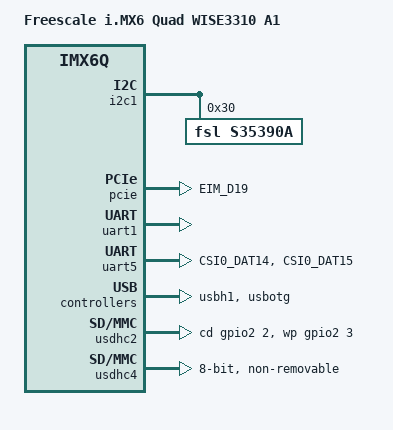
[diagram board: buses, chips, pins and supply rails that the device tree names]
/*
 * Copyright 2012 Freescale Semiconductor, Inc.
 * Copyright 2011 Linaro Ltd.
 *
 * The code contained herein is licensed under the GNU General Public
 * License. You may obtain a copy of the GNU General Public License
 * Version 2 or later at the following locations:
 *
 * http://www.opensource.org/licenses/gpl-license.html
 * http://www.gnu.org/copyleft/gpl.html
 */

/dts-v1/;

#include "imx6q.dtsi"
#include "imx6qdl-advantech.dtsi"

/ {
	model = "Freescale i.MX6 Quad WISE3310 A1";
	compatible = "fsl,imx6q-sabresd", "fsl,imx6q";

	board {
		compatible = "proc-board";
		board-type = "WISE-3310 A1";
		board-cpu = "DualQuad";
	};

	wsn {
		compatible = "adv,dustwsn";
		pinctrl-names = "default";
		pinctrl-0 = <&pinctrl_dustwsn_0>;
		status = "okay";
	};
};

&audio_sgtl5000 {
	status = "disabled";
};

&audio_hdmi {
	status = "disabled";
};

&audmux {
	status = "disabled";
};

&hdmi_audio {
	status = "disabled";
};

&hdmi_cec {
	status = "disabled";
};

&hdmi_core {
	status = "disabled";
};

&hdmi_video {
	status = "disabled";
};

&i2c1 {

	s35390a@30 {
		compatible = "fsl,s35390a";
		reg = <0x30>;
	};
};

&i2c3 {
	status = "disabled";
};

&iomuxc {
	pinctrl-names = "default";
	pinctrl-0 = <&pinctrl_hog_1 &pinctrl_hog_2>;

	dustwsn {
		pinctrl_dustwsn_0: dustwsn_grp-0 {
			fsl,pins = <
				MX6QDL_PAD_GPIO_0__GPIO1_IO00       0x80000000
				MX6QDL_PAD_GPIO_1__GPIO1_IO01       0x80000000
				MX6QDL_PAD_GPIO_2__GPIO1_IO02       0x80000000
				MX6QDL_PAD_GPIO_3__GPIO1_IO03       0x80000000
				MX6QDL_PAD_GPIO_4__GPIO1_IO04       0x80000000
				MX6QDL_PAD_GPIO_5__GPIO1_IO05       0x80000000
				MX6QDL_PAD_GPIO_6__GPIO1_IO06       0x80000000
				MX6QDL_PAD_GPIO_7__GPIO1_IO07       0x80000000
			>;
		};
	};

	hog {
		pinctrl_hog_1: hoggrp-1 {
			fsl,pins = <
				MX6QDL_PAD_NANDF_D2__GPIO2_IO02		0x80000000	/* SD2_CD */
				MX6QDL_PAD_NANDF_D3__GPIO2_IO03		0x80000000	/* SD2_WP */
				MX6QDL_PAD_EIM_D30__GPIO3_IO30		0x80000000	/* BORAD_ID0 */
				MX6QDL_PAD_EIM_D31__GPIO3_IO31		0x80000000	/* BORAD_ID1 */
			>;
		};
		pinctrl_hog_2: hoggrp-2 {
			fsl,pins = <
				MX6QDL_PAD_EIM_EB3__GPIO2_IO31		0x80000000
				MX6QDL_PAD_EIM_D20__GPIO3_IO20		0x80000000
				MX6QDL_PAD_EIM_D24__GPIO3_IO24		0x80000000
				MX6QDL_PAD_EIM_D25__GPIO3_IO25		0x80000000
				MX6QDL_PAD_EIM_A24__GPIO5_IO04		0x80000000
				MX6QDL_PAD_EIM_A23__GPIO6_IO06		0x80000000
				MX6QDL_PAD_EIM_A22__GPIO2_IO16		0x80000000
				MX6QDL_PAD_EIM_A21__GPIO2_IO17		0x80000000
				MX6QDL_PAD_EIM_A20__GPIO2_IO18		0x80000000
				MX6QDL_PAD_EIM_A19__GPIO2_IO19		0x80000000
				MX6QDL_PAD_EIM_A18__GPIO2_IO20		0x80000000
				MX6QDL_PAD_EIM_A17__GPIO2_IO21		0x80000000
				MX6QDL_PAD_EIM_A16__GPIO2_IO22		0x80000000
				MX6QDL_PAD_EIM_RW__GPIO2_IO26		0x80000000
				MX6QDL_PAD_EIM_LBA__GPIO2_IO27		0x80000000
				MX6QDL_PAD_EIM_EB0__GPIO2_IO28		0x80000000
				MX6QDL_PAD_EIM_EB1__GPIO2_IO29		0x80000000
				MX6QDL_PAD_EIM_DA0__GPIO3_IO00		0x80000000
				MX6QDL_PAD_EIM_DA1__GPIO3_IO01		0x80000000
				MX6QDL_PAD_EIM_DA2__GPIO3_IO02		0x80000000
				MX6QDL_PAD_EIM_DA3__GPIO3_IO03		0x80000000
				MX6QDL_PAD_EIM_DA4__GPIO3_IO04		0x80000000
				MX6QDL_PAD_EIM_DA5__GPIO3_IO05		0x80000000
				MX6QDL_PAD_EIM_DA6__GPIO3_IO06		0x80000000
				MX6QDL_PAD_EIM_DA7__GPIO3_IO07		0x80000000
				MX6QDL_PAD_EIM_DA8__GPIO3_IO08		0x80000000
				MX6QDL_PAD_EIM_DA9__GPIO3_IO09		0x80000000
				MX6QDL_PAD_EIM_DA10__GPIO3_IO10		0x80000000
				MX6QDL_PAD_EIM_DA11__GPIO3_IO11		0x80000000
				MX6QDL_PAD_EIM_DA12__GPIO3_IO12		0x80000000
				MX6QDL_PAD_EIM_DA13__GPIO3_IO13		0x80000000
				MX6QDL_PAD_EIM_DA14__GPIO3_IO14		0x80000000
				MX6QDL_PAD_EIM_DA15__GPIO3_IO15		0x80000000
				MX6QDL_PAD_EIM_WAIT__GPIO5_IO00		0x80000000
				MX6QDL_PAD_ENET_RXD1__GPIO1_IO26	0x80000000
			>;
		};
	};

	pcie {
		pinctrl_pcie_1: pciegrp-1 {
			fsl,pins = <
				MX6QDL_PAD_EIM_D19__GPIO3_IO19		0x80000000	/* PCIE_DIS_B */
			>;
		};
	};

	spi1 {
		pinctrl_ecspi1_cs_0: ecspi1_cs_grp-0 {
			fsl,pins = <
				MX6QDL_PAD_EIM_EB2__GPIO2_IO30		0x80000000	/* ECSPI1_CS0 */
			>;
		};
	};

	uart5 {
		pinctrl_uart5_1: uart5grp-1 {
			fsl,pins = <
				MX6QDL_PAD_CSI0_DAT14__UART5_TX_DATA	0x1b0b1
				MX6QDL_PAD_CSI0_DAT15__UART5_RX_DATA	0x1b0b1
			>;
		};
	};
};

&pcie {
	pinctrl-names = "default";
	pinctrl-0 = <&pinctrl_pcie_1>;
	disable-gpio = <&gpio3 19 0>;
	status = "okay";
};

&uart1 {
	pinctrl-names = "default";
	pinctrl-0 = <&pinctrl_uart1_1>;
	status = "okay";
};

&uart5 {
	pinctrl-names = "default";
	pinctrl-0 = <&pinctrl_uart5_1>;
	status = "okay";
};

&usbh1 {
	status = "okay";
};

&usbotg {
	pinctrl-names = "default";
	pinctrl-0 = <&pinctrl_usbotg_2>;
	disable-over-current;
	status = "okay";
};

&usdhc2 {
	pinctrl-names = "default";
	pinctrl-0 = <&pinctrl_usdhc2_2>;
	cd-gpios = <&gpio2 2 0>;
	wp-gpios = <&gpio2 3 0>;
	no-1-8-v;
	keep-power-in-suspend;
	enable-sdio-wakeup;
	status = "okay";
};

&usdhc4 {
	pinctrl-names = "default";
	pinctrl-0 = <&pinctrl_usdhc4_1>;
	bus-width = <8>;
	non-removable;
	no-1-8-v;
	keep-power-in-suspend;
	status = "okay";
};

&v4l2_output {
	status = "disabled";
};
